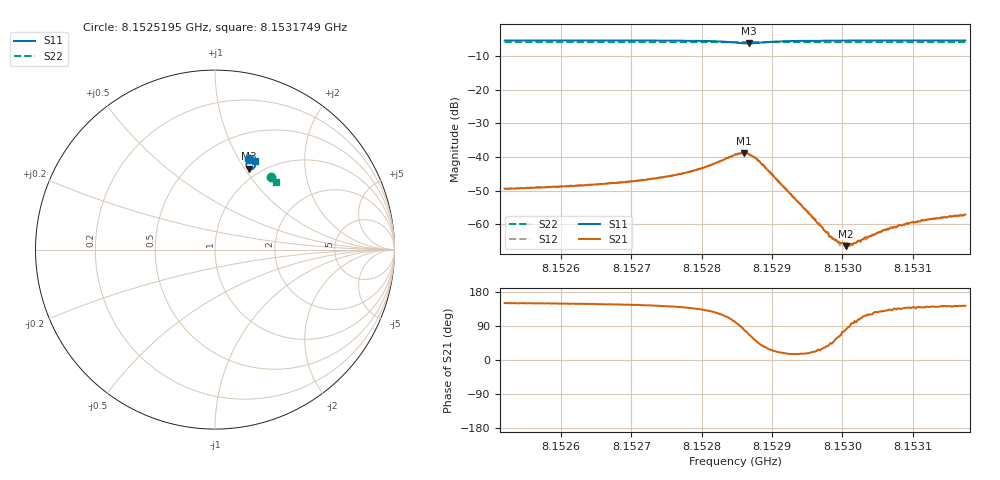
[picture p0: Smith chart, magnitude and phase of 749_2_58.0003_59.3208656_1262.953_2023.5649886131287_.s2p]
#  HZ  S  RI  R  50.00
! Rohde & Schwarz Vector Network Analyzer
! Rohde-Schwarz,ZNB20-2Port,1311601062101988,3.16
! Created: UTC 3/21/2024, 1:23:55 AM
! freq[Hz]  re:S11  im:S11  re:S21  im:S21  re:S12  im:S12  re:S22  im:S22
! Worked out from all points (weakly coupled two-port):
!   401 points, 8.1525195 GHz to 8.1531749 GHz, reference 50 ohm
!   highest |S21| = -38.85 dB at 8.1528603 GHz (marker M1); lowest = -66.4 dB at 8.1530045 GHz (marker M2)
!   lowest |S11| = -6.2 dB at 8.1528669 GHz (marker M3), VSWR 2.90, Z = 44.2 + j52.2 ohm
!   |S11| at or under -10 dB: nowhere
!   |S22| runs from -5.9 to -5.8 dB; largest |S21 - S12| = 0.00037
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8.15251953e9  0.1905 0.5058  -0.00293 0.00168  -0.00291 0.00169  0.311 0.4054
8.1526293e9  0.1996 0.502  -0.0032 0.00198  -0.00318 0.00206  0.3166 0.4008
8.15269811e9  0.2062 0.4987  -0.00354 0.00241  -0.00354 0.00248  0.32 0.3979
8.15273907e9  0.2111 0.4957  -0.00392 0.00295  -0.00387 0.00303  0.3221 0.3961
8.15277348e9  0.216 0.4914  -0.00433 0.00376  -0.0043 0.00382  0.3237 0.3945
8.15279969e9  0.2206 0.4853  -0.00464 0.00496  -0.00461 0.00501  0.3249 0.3933
8.15284721e9  0.2164 0.4545  -0.00202 0.0107  -0.00202 0.0107  0.3266 0.3903
8.15286032e9  0.1984 0.4474  0.00219 0.0112  0.00197 0.0113  0.3265 0.3898
8.15286687e9  0.1875 0.4501  0.00426 0.0102  0.00418 0.0103  0.3264 0.3898
8.15287506e9  0.1779 0.4593  0.00582 0.00793  0.00594 0.00798  0.3266 0.3901
8.15288653e9  0.1741 0.4742  0.00598 0.00462  0.00621 0.0046  0.327 0.3902
8.15295698e9  0.1981 0.4975  0.00117 0.000449  0.00124 0.000451  0.3316 0.3878
8.15298483e9  0.2034 0.4977  0.000467 0.000436  0.000464 0.000399  0.333 0.3867
8.1529963e9  0.2054 0.4974  0.000234 0.000478  0.000217 0.000432  0.3337 0.386
8.15299958e9  0.2058 0.4973  0.000144 0.000505  0.000192 0.000479  0.3338 0.3859
8.15300449e9  0.2065 0.4972  8.57e-05 0.000468  0.000101 0.000504  0.334 0.3857
8.15301596e9  0.2081 0.497  -6.75e-05 0.000512  -7.51e-05 0.000512  0.3346 0.3853
8.15303071e9  0.2101 0.4968  -0.000273 0.000555  -0.000263 0.000529  0.3354 0.3847
8.15306675e9  0.214 0.4957  -0.000582 0.000629  -0.000581 0.000663  0.3371 0.3831
8.15309788e9  0.2169 0.4948  -0.000783 0.00072  -0.000801 0.000721  0.3385 0.3817
8.15313393e9  0.2201 0.4936  -0.000938 0.000778  -0.000968 0.000799  0.3403 0.3801
8.15317489e9  0.2235 0.4924  -0.00111 0.000841  -0.00108 0.000853  0.3422 0.3782
